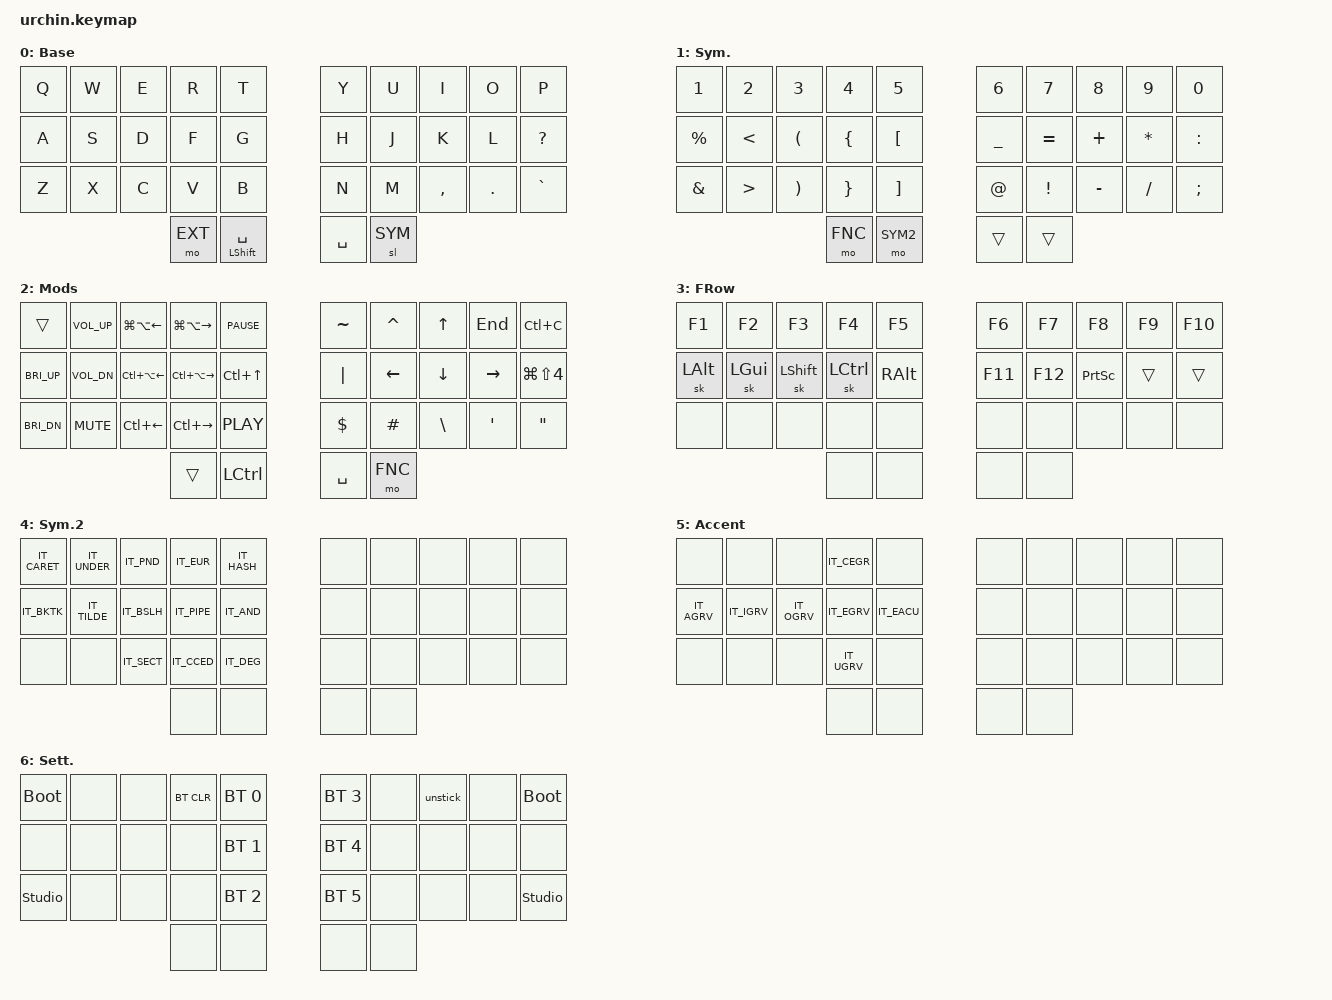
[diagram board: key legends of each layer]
/*
 * Copyright (c) 2020 duckyb
 *
 * SPDX-License-Identifier: MIT
 */

#include <behaviors.dtsi>
#include <dt-bindings/zmk/keys.h>
#include <dt-bindings/zmk/bt.h>
#include <dt-bindings/zmk/outputs.h>
#include "keymap_italian.h"

// Layer definitions
#define BASE 0
#define SYM 1
#define EXT 2
#define FNC 3
#define SYM2 4
#define ACCENT 5
#define SETTINGS 6
// -----------------

&sk {
	// don't release mods on other mods presses
	ignore-modifiers;
};


/ {
	behaviors {
		// Enables holding the first mod-tap key
		// by performing a tap-release-hold sequence.
		// To use it: "&qt KEYCODE1 KEYCODE2"
		qt: quick_tap {
			compatible = "zmk,behavior-hold-tap";
			label = "QUICK_TAP";
			#binding-cells = <2>;
			flavor = "hold-preferred";
			tapping-term-ms = <200>;
			quick-tap-ms = <200>;
			bindings = <&kp>, <&kp>;
		};
	};

	macros {
		// sometimes my device thinks a modifier is being held down
		// pressing all modifiers fixes it.
		unstick: unstick {
			label = "ZM_unstick";
			compatible = "zmk,behavior-macro";
			#binding-cells = <0>;
			bindings = <&kp LSHIFT &kp RSHIFT &kp LCTRL &kp RCTRL &kp LALT &kp RALT &kp LGUI &kp RGUI>;
		};
	};

	combos {
		compatible = "zmk,combos";
		// both right thumb keys
		combo_accent {
			timeout-ms = <200>;
			key-positions = <32 33>;
			bindings = <&mo ACCENT>;
		};
		// internal-left & external-right thumb keys
		combo_sym2 {
			timeout-ms = <200>;
			key-positions = <31 33>;
			bindings = <&mo SYM2>;
		};
		// both left thumb keys
		combo_settings {
			timeout-ms = <200>;
			key-positions = <30 31>;
			bindings = <&mo SETTINGS>;
		};
		// left index & middle fingers (home-row)
		// hold control & space for Adobe workflow
		combo_ctrl_space {
			timeout-ms = <200>;
			key-positions = <12 13>;
			bindings = <&kp LC(SPACE)>;
			layers = <BASE>;
		};
		// option = right upper row index fingers 
		combo_right_option {
			timeout-ms = <100>;
			key-positions = <6 7>;
			bindings = <&kp RALT>;
		};
		// command = right upper row middle fingers 
		combo_right_command {
			timeout-ms = <100>;
			key-positions = <7 8>;
			bindings = <&kp RIGHT_COMMAND>;
		};
		// backspace = right middle row middle fingers 
		combo_backspace {
			timeout-ms = <100>;
			key-positions = <17 18>;
			bindings = <&kp BACKSPACE>;
			layers = <BASE>;
		};
		// enter = right bottom row middle fingers 
		combo_enter {
			timeout-ms = <100>;
			key-positions = <27 28>;
			bindings = <&kp ENTER>;
			layers = <BASE>;
		};
		// option = left upper row index fingers 
		combo_left_option {
			timeout-ms = <100>;
			key-positions = <2 3>;
			bindings = <&kp RALT>;
		};
		combo_left_command {
			timeout-ms = <100>;
			key-positions = <1 2>;
			bindings = <&kp LEFT_COMMAND>;
		};
		// tab = left middle row middle fingers 
		combo_tab {
			timeout-ms = <100>;
			key-positions = <11 12>;
			bindings = <&kp TAB>;
			layers = <BASE>;
		};
		// escape = left bottom row middle fingers 
		combo_escape {
			timeout-ms = <100>;
			key-positions = <21 22>;
			bindings = <&kp ESC>;
			layers = <BASE>;
		};
	};

	keymap {
		compatible = "zmk,keymap";
		// Base alpha layer
		default_layer {
			label = "Base";
			bindings = <
			&kp Q &kp W &kp E &kp R &kp T           &kp Y &kp U  &kp I     &kp O   &kp P 
			&kp A &kp S &kp D &kp F &kp G           &kp H &kp J  &kp K     &kp L &kp QUESTION
			&kp Z &kp X &kp C &kp V &kp B           &kp N &kp M  &kp COMMA &kp DOT &kp GRAVE
							&mo EXT &qt LSHIFT SPACE           &kp SPACE &sl SYM
			>;
		};

		// Numbers and high frequency symbols
		sym_layer {
			label = "Sym.";
			bindings = <
			&kp N1 &kp N2 &kp N3 &kp N4 &kp N5		                &kp N6 &kp N7 &kp N8 &kp N9 &kp N0
			&kp PRCNT &kp LESS_THAN &kp LPAR &kp LBRC &kp LBKT      &kp UNDER &kp EQUAL &kp PLUS &kp ASTRK &kp COLON
			&kp AMPS &kp GREATER_THAN &kp RPAR &kp RBRC &kp RBKT 	&kp AT &kp EXCL &kp MINUS &kp FSLH &kp SEMI
											&mo FNC  &mo SYM2       &trans &trans
			>;
		};

		// Main modifiers and arrow keys
		ext_layer {
			label = "Mods";
			bindings = <
			&trans  &kp K_VOL_UP &kp LG(LA(LEFT))  &kp LG(LA(RIGHT))  &kp C_PAUSE    	&kp TILDE  &kp CARET &kp UP &kp END &kp LC(C)
			&kp C_BRI_UP &kp K_VOL_DN  &kp LC(LA(LEFT)) &kp LC(LA(RIGHT))  &kp LC(UP) 			&kp PIPE &kp LEFT  &kp DOWN  &kp RIGHT   &kp LG(LS(N4))
			&kp C_BRI_DN &kp K_MUTE &kp LC(LEFT) &kp LC(RIGHT)   &kp C_PLAY          &kp DOLLAR &kp HASH &kp BACKSLASH &kp APOS  &kp DQT
												&trans &kp LCTRL    &kp SPACE  &mo FNC 
			>;
		};

		// Function keys with modifiers
		fnc_layer {
			label = "FRow";
			bindings = <
			&kp F1 &kp F2 &kp F3 &kp F4 &kp F5                  &kp F6 &kp F7 &kp F8 &kp F9 &kp F10 
			&sk LALT &sk LGUI &sk LSHIFT &sk LCTRL &kp RALT     &kp F11 &kp F12  &kp PRINTSCREEN &trans &trans
			&none &none &none &none &none				          &none &none &none &none &none 
							  &none &none              &none &none  
			>;
		};

		// Low frequency symbols.
		symbols_2_layer {
			label = "Sym.2";
			bindings = <
			&kp IT_CARET &kp IT_UNDER &kp IT_PND &kp IT_EUR &kp IT_HASH         &none &none &none &none &none 
			&kp IT_BKTK &kp IT_TILDE &kp IT_BSLH &kp IT_PIPE &kp IT_AND         &none &none &none &none &none
			&none 			&none 			 &kp IT_SECT &kp IT_CCED &kp IT_DEG				  &none &none &none &none &none
																	&none &none        	&none &none 
			>;
		};

		// Used to type regional accents.
		accent_layer {
			label = "Accent";
			bindings = <
			&none &none &none &kp IT_CEGR &none                         &none &none &none &none &none 
			&kp IT_AGRV &kp IT_IGRV &kp IT_OGRV &kp IT_EGRV &kp IT_EACU &none &none &none &none &none
			&none &none &none &kp IT_UGRV &none                         &none &none &none &none &none
									&none &none                         &none &none 
			>;
		};

		// Used to change the keyboard's settings.
		settings_layer {
				label = "Sett.";
				bindings = <
				&bootloader &none &none &bt BT_CLR &bt BT_SEL 0               &bt BT_SEL 3 &none &unstick &none &bootloader 
				&none &none &none &none      &bt BT_SEL 1 						  &bt BT_SEL 4 &none &none &none &none
				&studio_unlock &none &none &none      &bt BT_SEL 2               &bt BT_SEL 5 &none &none &none &studio_unlock
										&none &none                         &none &none 
				>;
		};
	};
};
